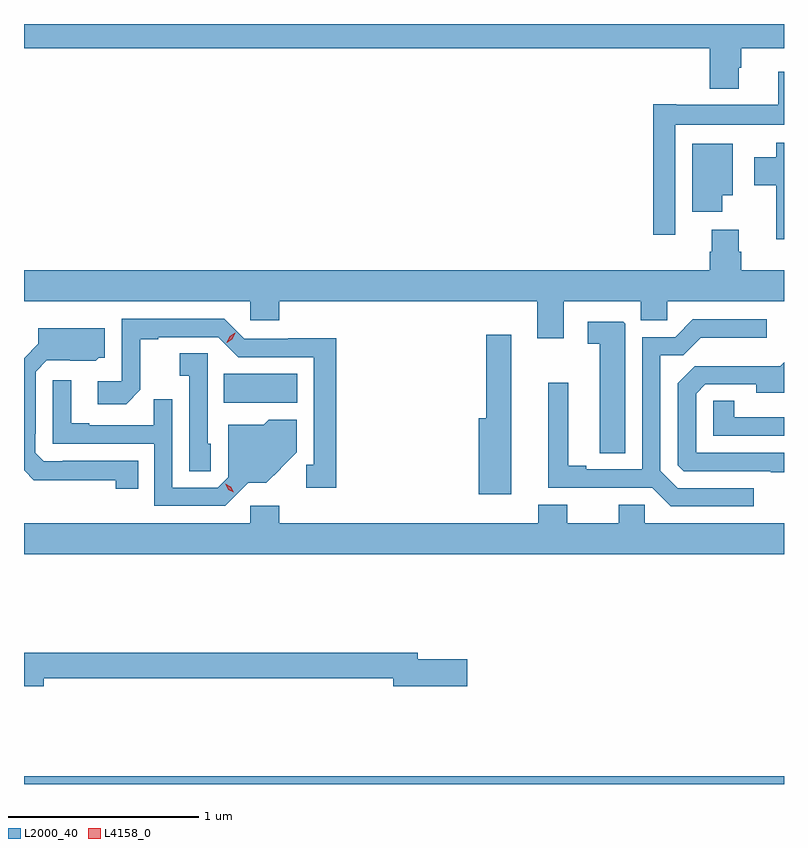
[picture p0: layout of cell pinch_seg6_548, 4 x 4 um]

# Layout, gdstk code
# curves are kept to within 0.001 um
import gdstk
lib = gdstk.Library(unit=1e-6, precision=1e-09)
def R(c, l, rs):  # rectangles x0, y0, x1, y1
    for r in rs: c.add(gdstk.rectangle(r[:2], r[2:], *l))
def P(c, l, *ps):  # polygons
    for p in ps: c.add(gdstk.Polygon(p, *l))
L2000_40 = (2000, 40)
L4158_0 = (4158, 0)

pinch_seg6_548 = lib.new_cell('pinch_seg6_548')
R(pinch_seg6_548, L2000_40, [(609.842,992.748,613.842,992.788), (610.894,994.754,611.281,994.906)])
P(pinch_seg6_548, L2000_40, [(609.842,996.62),(613.451,996.62),(613.451,996.407),(613.603,996.407),(613.603,996.519),(613.616,996.519),(613.616,996.62),(613.842,996.62),(613.842,996.748),(609.842,996.748)],
  [(613.269,996.218),(613.842,996.218),(613.842,996.496),(613.811,996.496),(613.811,996.322),(613.276,996.322),(613.276,996.325),(613.153,996.325),(613.153,995.64),(613.269,995.64)],
  [(613.842,996.124),(613.802,996.124),(613.802,996.046),(613.685,996.046),(613.685,995.899),(613.802,995.899),(613.802,995.616),(613.842,995.616)],
  [(613.516,995.846),(613.573,995.846),(613.573,996.118),(613.358,996.118),(613.358,995.76),(613.516,995.76)],
  [(612.682,995.288),(613.088,995.288),(613.088,995.19),(613.227,995.19),(613.227,995.288),(613.842,995.288),(613.842,995.452),(613.616,995.452),(613.616,995.55),(613.603,995.55),(613.603,995.665),(613.463,995.665),(613.463,995.55),(613.451,995.55),(613.451,995.452),(609.842,995.452),(609.842,995.288),(611.034,995.288),(611.034,995.19),(611.186,995.19),(611.186,995.288),(612.542,995.288),(612.542,995.094),(612.682,995.094)],
  [(611.485,995.093),(611.234,995.093),(611.234,995.091),(611.001,995.091),(610.896,995.196),(610.356,995.196),(610.356,994.869),(610.23,994.869),(610.23,994.748),(610.38,994.748),(610.455,994.823),(610.455,995.088),(610.549,995.088),(610.549,995.1),(610.864,995.1),(610.969,994.995),(611.366,994.995),(611.366,994.428),(611.328,994.428),(611.328,994.308),(611.485,994.308)],
  [(613.684,994.305),(613.284,994.305),(613.191,994.398),(613.191,995.005),(613.312,995.005),(613.403,995.096),(613.75,995.096),(613.75,995.193),(613.362,995.193),(613.269,995.1),(613.095,995.1),(613.095,994.404),(612.802,994.404),(612.802,994.424),(612.706,994.424),(612.706,994.861),(612.602,994.861),(612.602,994.308),(613.148,994.308),(613.247,994.209),(613.684,994.209)],
  [(613.006,995.171),(612.996,995.181),(612.81,995.181),(612.81,995.065),(612.872,995.065),(612.872,994.489),(613.006,994.489)],
  [(610.442,994.449),(610.045,994.449),(610.045,994.446),(609.945,994.446),(609.9,994.491),(609.9,994.591),(609.903,994.591),(609.903,994.917),(609.963,994.977),(610.22,994.976),(610.236,994.992),(610.267,994.992),(610.267,995.146),(609.917,995.146),(609.917,995.064),(609.842,994.989),(609.842,994.399),(609.893,994.348),(610.324,994.348),(610.324,994.302),(610.442,994.302)],
  [(612.406,995.113),(612.275,995.113),(612.275,994.672),(612.236,994.672),(612.236,994.274),(612.406,994.274)],
  [(610.824,994.539),(610.809,994.539),(610.809,995.015),(610.662,995.015),(610.662,994.897),(610.713,994.897),(610.713,994.395),(610.824,994.395)],
  [(613.842,994.491),(613.38,994.491),(613.38,994.803),(613.428,994.851),(613.697,994.851),(613.697,994.808),(613.842,994.808),(613.842,994.967),(613.823,994.948),(613.489,994.948),(613.489,994.946),(613.373,994.946),(613.284,994.857),(613.284,994.425),(613.314,994.395),(613.771,994.395),(613.771,994.39),(613.842,994.39)],
  [(611.022,994.334),(611.118,994.334),(611.278,994.495),(611.278,994.666),(611.131,994.666),(611.104,994.639),(610.917,994.639),(610.917,994.362),(610.863,994.308),(610.623,994.308),(610.623,994.774),(610.525,994.774),(610.525,994.635),(610.186,994.635),(610.186,994.648),(610.09,994.648),(610.09,994.873),(609.993,994.873),(609.993,994.539),(610.527,994.539),(610.527,994.212),(610.9,994.212)],
  [(613.842,994.677),(613.833,994.677),(613.833,994.678),(613.579,994.678),(613.579,994.766),(613.47,994.766),(613.47,994.581),(613.842,994.581)],
  [(613.842,994.12),(613.11,994.12),(613.11,994.218),(612.971,994.218),(612.971,994.12),(612.7,994.12),(612.7,994.219),(612.548,994.219),(612.548,994.12),(611.186,994.12),(611.186,994.213),(611.034,994.213),(611.034,994.12),(609.842,994.12),(609.842,993.956),(613.842,993.956)],
  [(609.946,993.304),(611.786,993.304),(611.786,993.262),(612.175,993.262),(612.175,993.404),(611.914,993.404),(611.914,993.44),(609.842,993.44),(609.842,993.262),(609.946,993.262)])
P(pinch_seg6_548, L4158_0, [(610.908,995.071),(610.908,995.071),(610.924,995.104),(610.954,995.123),(610.954,995.123),(610.954,995.123),(610.939,995.09),(610.908,995.071)],
  [(610.947,994.283),(610.916,994.298),(610.9,994.328),(610.9,994.328),(610.9,994.328),(610.93,994.313),(610.947,994.283),(610.947,994.283)])

lib.write_gds('pinch_seg6_548.gds')
